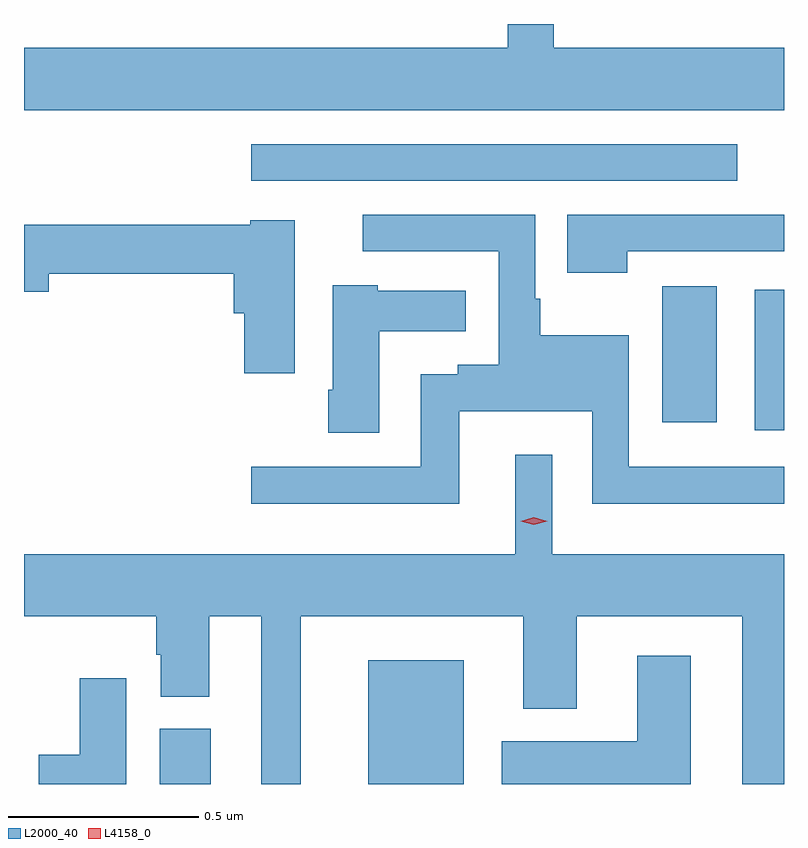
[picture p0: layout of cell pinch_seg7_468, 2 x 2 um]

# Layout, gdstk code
import gdstk
lib = gdstk.Library(unit=1e-6, precision=1e-09)
def R(c, l, rs):  # rectangles x0, y0, x1, y1
    for r in rs: c.add(gdstk.rectangle(r[:2], r[2:], *l))
def P(c, l, *ps):  # polygons
    for p in ps: c.add(gdstk.Polygon(p, *l))
L2000_40 = (2000, 40)
L4158_0 = (4158, 0)

pinch_seg7_468 = lib.new_cell('pinch_seg7_468')
R(pinch_seg7_468, L2000_40, [(263.03,1057.451,263.164,1057.596), (263.579,1057.451,263.83,1057.777), (264.596,1058.382,264.673,1058.752), (264.353,1058.403,264.496,1058.761), (263.271,1059.039,264.55,1059.135)])
P(pinch_seg7_468, L2000_40, [(264.673,1059.388),(264.067,1059.388),(264.067,1059.451),(263.946,1059.451),(263.946,1059.388),(262.673,1059.388),(262.673,1059.224),(264.673,1059.224)],
  [(264.26,1058.853),(264.673,1058.853),(264.673,1058.949),(264.103,1058.949),(264.103,1058.796),(264.26,1058.796)],
  [(263.818,1058.432),(264.168,1058.432),(264.168,1058.189),(264.673,1058.189),(264.673,1058.286),(264.264,1058.286),(264.264,1058.632),(264.031,1058.632),(264.031,1058.728),(264.018,1058.728),(264.018,1058.949),(263.565,1058.949),(263.565,1058.853),(263.922,1058.853),(263.922,1058.554),(263.814,1058.554),(263.814,1058.529),(263.717,1058.529),(263.717,1058.286),(263.271,1058.286),(263.271,1058.189),(263.818,1058.189)],
  [(263.386,1058.935),(263.268,1058.935),(263.268,1058.923),(262.673,1058.923),(262.673,1058.747),(262.738,1058.747),(262.738,1058.794),(263.225,1058.794),(263.225,1058.69),(263.252,1058.69),(263.252,1058.532),(263.386,1058.532)],
  [(263.608,1058.642),(263.836,1058.642),(263.836,1058.749),(263.604,1058.749),(263.604,1058.764),(263.486,1058.764),(263.486,1058.488),(263.474,1058.488),(263.474,1058.376),(263.608,1058.376)],
  [(263.401,1057.892),(263.987,1057.892),(263.987,1057.649),(264.127,1057.649),(264.127,1057.892),(264.563,1057.892),(264.563,1057.451),(264.673,1057.451),(264.673,1058.056),(264.063,1058.056),(264.063,1058.317),(263.966,1058.317),(263.966,1058.056),(262.673,1058.056),(262.673,1057.892),(263.021,1057.892),(263.021,1057.791),(263.033,1057.791),(263.033,1057.681),(263.161,1057.681),(263.161,1057.892),(263.297,1057.892),(263.297,1057.451),(263.401,1057.451)],
  [(264.427,1057.789),(264.287,1057.789),(264.287,1057.564),(263.93,1057.564),(263.93,1057.451),(264.427,1057.451)],
  [(262.942,1057.729),(262.82,1057.729),(262.82,1057.528),(262.712,1057.528),(262.712,1057.451),(262.942,1057.451)])
P(pinch_seg7_468, L4158_0, [(264.015,1058.133),(263.98,1058.143),(263.98,1058.143),(263.98,1058.143),(264.015,1058.153),(264.05,1058.143),(264.05,1058.143),(264.05,1058.143)])

lib.write_gds('pinch_seg7_468.gds')
